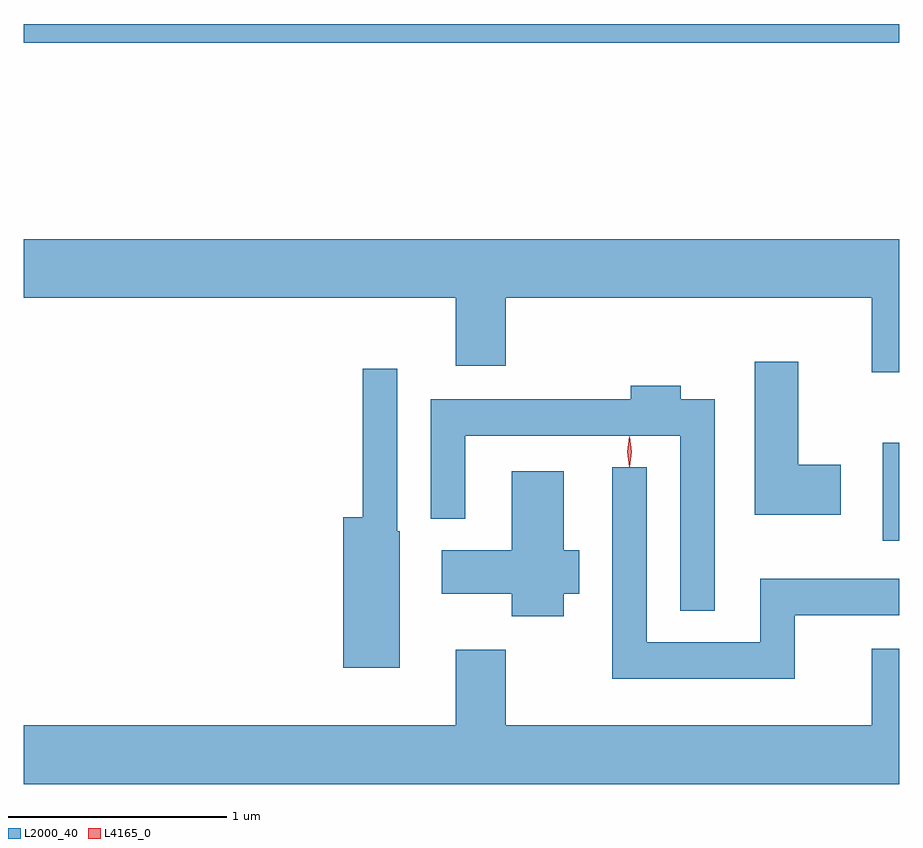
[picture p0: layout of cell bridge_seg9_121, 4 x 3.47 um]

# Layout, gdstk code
import gdstk
lib = gdstk.Library(unit=1e-6, precision=1e-09)
def R(c, l, rs):  # rectangles x0, y0, x1, y1
    for r in rs: c.add(gdstk.rectangle(r[:2], r[2:], *l))
def P(c, l, *ps):  # polygons
    for p in ps: c.add(gdstk.Polygon(p, *l))
L2000_40 = (2000, 40)
L4165_0 = (4165, 0)

bridge_seg9_121 = lib.new_cell('bridge_seg9_121')
R(bridge_seg9_121, L2000_40, [(1373.611,2079.506,1373.687,2079.954), (1369.687,2081.781,1373.687,2081.867)])
P(bridge_seg9_121, L2000_40, [(1373.687,2080.884),(1369.687,2080.884),(1369.687,2080.616),(1371.661,2080.616),(1371.661,2080.306),(1371.889,2080.306),(1371.889,2080.616),(1373.561,2080.616),(1373.561,2080.276),(1373.687,2080.276)],
  [(1373.419,2079.854),(1373.224,2079.854),(1373.224,2080.324),(1373.026,2080.324),(1373.026,2079.626),(1373.419,2079.626)],
  [(1371.404,2079.55),(1371.394,2079.55),(1371.394,2080.293),(1371.236,2080.293),(1371.236,2079.614),(1371.146,2079.614),(1371.146,2078.926),(1371.404,2078.926)],
  [(1372.844,2080.154),(1372.689,2080.154),(1372.689,2080.214),(1372.461,2080.214),(1372.461,2080.154),(1371.546,2080.154),(1371.546,2079.608),(1371.704,2079.608),(1371.704,2079.986),(1372.686,2079.986),(1372.686,2079.188),(1372.844,2079.188)],
  [(1373.209,2079.166),(1373.687,2079.166),(1373.687,2079.334),(1373.051,2079.334),(1373.051,2079.044),(1372.534,2079.044),(1372.534,2079.843),(1372.376,2079.843),(1372.376,2078.876),(1373.209,2078.876)],
  [(1372.154,2079.266),(1372.224,2079.266),(1372.224,2079.464),(1372.154,2079.464),(1372.154,2079.824),(1371.916,2079.824),(1371.916,2079.464),(1371.596,2079.464),(1371.596,2079.266),(1371.916,2079.266),(1371.916,2079.161),(1372.154,2079.161)],
  [(1373.687,2079.014),(1373.561,2079.014),(1373.561,2078.664),(1371.889,2078.664),(1371.889,2079.009),(1371.661,2079.009),(1371.661,2078.664),(1369.687,2078.664),(1369.687,2078.396),(1373.687,2078.396)])
P(bridge_seg9_121, L4165_0, [(1372.454,2079.844),(1372.445,2079.913),(1372.454,2079.982),(1372.455,2079.983),(1372.455,2079.982),(1372.465,2079.913),(1372.455,2079.844),(1372.455,2079.844)],
  [(1372.453,2079.847),(1372.444,2079.914),(1372.453,2079.98),(1372.454,2079.98),(1372.454,2079.98),(1372.464,2079.914),(1372.454,2079.847),(1372.454,2079.847)])

lib.write_gds('bridge_seg9_121.gds')
